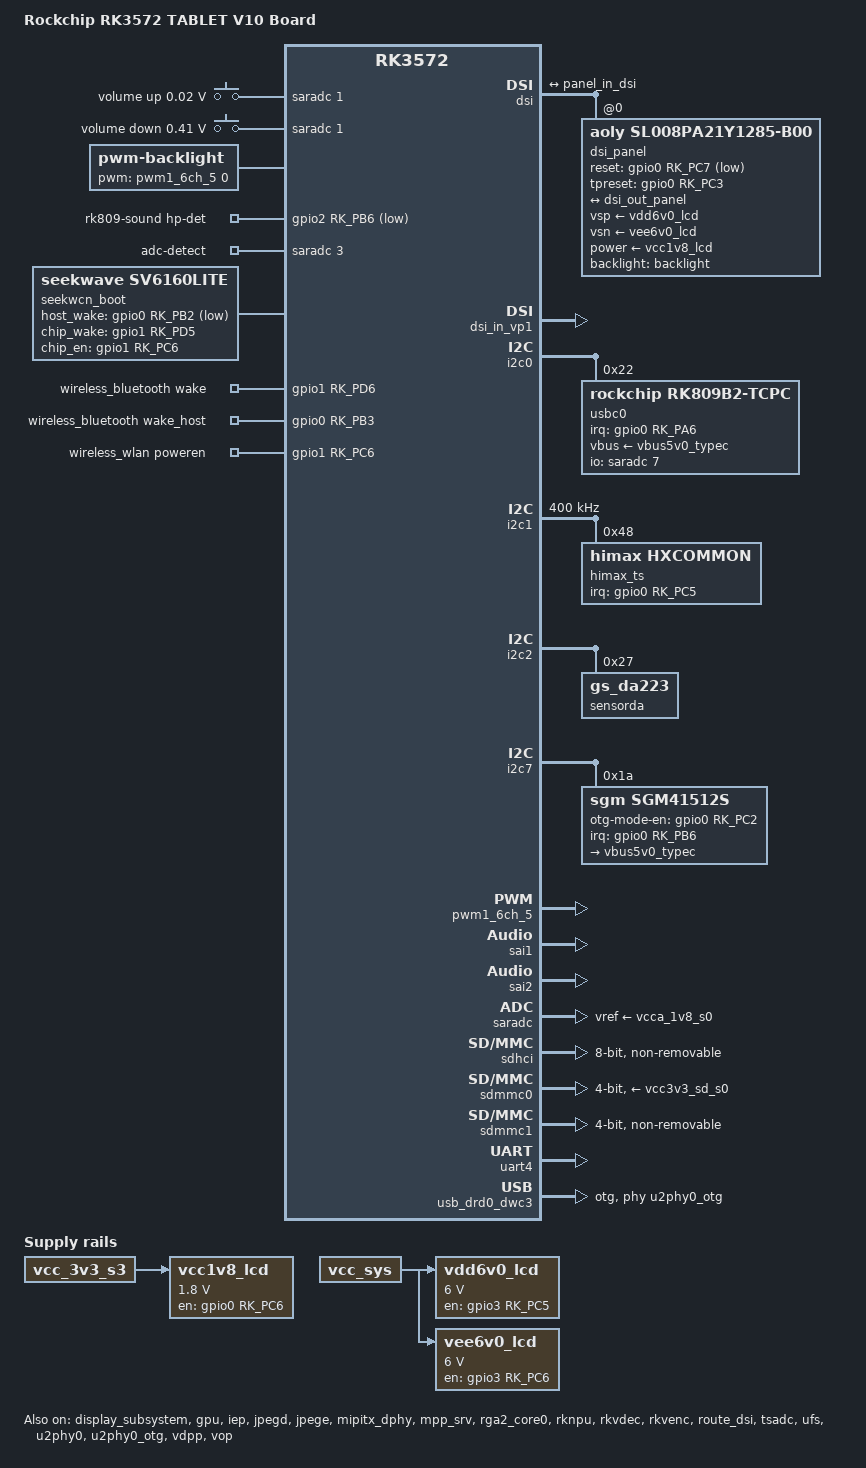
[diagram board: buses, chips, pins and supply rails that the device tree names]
// SPDX-License-Identifier: (GPL-2.0+ OR MIT)
/*
 * Copyright (c) 2025 Rockchip Electronics Co., Ltd.
 */

/dts-v1/;

#include <dt-bindings/display/drm_mipi_dsi.h>
#include <dt-bindings/display/rockchip_vop.h>
#include <dt-bindings/gpio/gpio.h>
#include <dt-bindings/input/rk-input.h>
#include <dt-bindings/pinctrl/rockchip.h>
#include <dt-bindings/pwm/pwm.h>
#include <dt-bindings/sensor-dev.h>
#include <dt-bindings/usb/pd.h>
#include "rk3572.dtsi"
#include "rk3572-android.dtsi"
#include "rk3572-rk809-rk805.dtsi"
#include "rk3572-tablet-camera.dtsi"

/ {
	model = "Rockchip RK3572 TABLET V10 Board";
	compatible = "rockchip,rk3572-tablet-v10", "rockchip,rk3572";

	adc_keys: adc-keys {
		compatible = "adc-keys";
		io-channels = <&saradc 1>;
		io-channel-names = "buttons";
		keyup-threshold-microvolt = <1800000>;
		poll-interval = <100>;

		vol-up-key {
			label = "volume up";
			linux,code = <KEY_VOLUMEUP>;
			press-threshold-microvolt = <20000>;
		};

		vol-down-key {
			label = "volume down";
			linux,code = <KEY_VOLUMEDOWN>;
			press-threshold-microvolt = <410000>;
		};
	};

	backlight: backlight {
		compatible = "pwm-backlight";
		pwms = <&pwm1_6ch_5 0 25000 0>;
		brightness-levels = <
			  0   1   1   2   2   3   3   4
			  5   5   6   6   7   7   8   9
			  9  10  10  11  11  12  13  13
			 14  14  15  15  16  16  17  18
			 18  19  19  20  20  21  22  22
			 23  23  24  24  25  26  26  27
			 27  28  28  29  30  30  31  31
			 32  32  33  34  34  35  35  36
			 36  37  38  38  39  39  40  40
			 41  42  42  43  43  44  44  45
			 45  46  47  47  48  48  49  49
			 50  51  51  52  52  53  53  54
			 55  55  56  56  57  57  58  59
			 59  60  60  61  61  62  63  63
			 64  64  65  65  66  67  67  68
			 68  69  69  70  71  71  72  72
			 73  73  74  74  75  76  76  77
			 77  78  78  79  80  80  81  81
			 82  82  83  84  84  85  85  86
			 86  87  88  88  89  89  90  90
			 91  92  92  93  93  94  94  95
			 96  96  97  97  98  98  99 100
			100 101 101 102 102 103 103 104
			105 105 106 106 107 107 108 109
			109 110 110 111 111 112 113 113
			114 114 115 115 116 117 117 118
			118 119 119 120 121 121 122 122
			123 123 124 125 125 126 126 127
			127 128 129 129 130 130 131 131
			132 132 133 134 134 135 135 136
			136 137 138 138 139 139 140 140
			141 142 142 143 143 144 144 145
		>;
		default-brightness-level = <100>;
	};

	bt-sound {
		compatible = "simple-audio-card";
		simple-audio-card,format = "dsp_b";
		simple-audio-card,bitclock-inversion = <1>;
		simple-audio-card,mclk-fs = <256>;
		simple-audio-card,name = "rockchip,bt";
		simple-audio-card,cpu {
			sound-dai = <&sai2>;
		};
		simple-audio-card,codec {
			sound-dai = <&bt_sco 1>;
		};
	};

	bt_sco: bt-sco {
		compatible = "delta,dfbmcs320";
		#sound-dai-cells = <1>;
		status = "okay";
	};

	rk809-sound {
		compatible = "rockchip,multicodecs-card";
		rockchip,card-name = "rockchip-rk809";
		hp-det-gpio = <&gpio2 RK_PB6 GPIO_ACTIVE_LOW>;
		io-channels = <&saradc 3>;
		io-channel-names = "adc-detect";
		keyup-threshold-microvolt = <1800000>;
		poll-interval = <100>;
		rockchip,format = "i2s";
		rockchip,mclk-fs = <256>;
		rockchip,cpu = <&sai1>;
		rockchip,codec = <&rk809_codec>;
		pinctrl-names = "default";
		pinctrl-0 = <&hp_det>;
		play-pause-key {
			label = "playpause";
			linux,code = <KEY_PLAYPAUSE>;
			press-threshold-microvolt = <2000>;
		};
	};

	seekwcn_boot:seekwcn_boot {
		compatible = "seekwave,sv6160lite";
		pinctrl-names = "default";
		pinctrl-0 = <&wifi_host_wake_irq>,<&wifi_chip_wake_irq>;
		sv6160_path = "/vendor/bin/sv6160.bin";
		sv6160_dram_path = "/vendor/etc/firmware/RAM_RW_KERNEL_DRAM";
		sv6160_iram_path = "/vendor/etc/firmware/ROM_EXEC_KERNEL_IRAM";
		dma_type = <1>;/*1:ADMA,2:SDMA*/
		gpio_host_wake = <&gpio0 RK_PB2 GPIO_ACTIVE_LOW>; /* [> CP2AP<] */
		gpio_chip_wake = <&gpio1 RK_PD5 GPIO_ACTIVE_HIGH>; /* AP2CP */
		gpio_chip_en = <&gpio1 RK_PC6 GPIO_ACTIVE_HIGH>; /* CP POWERON */
		status = "okay";
	};

	sdio_pwrseq: sdio-pwrseq {
		compatible = "mmc-pwrseq-simple";
		pinctrl-names = "default";
		pinctrl-0 = <&wifi_power_en>;
	};

	vcc1v8_lcd: vcc1v8-lcd {
		compatible = "regulator-fixed";
		regulator-name = "vcc1v8_lcd";
		regulator-boot-on;
		enable-active-high;
		regulator-min-microvolt = <1800000>;
		regulator-max-microvolt = <1800000>;
		gpio = <&gpio0 RK_PC6 GPIO_ACTIVE_HIGH>;
		vin-supply = <&vcc_3v3_s3>;
	};

	vdd6v0_lcd: vdd6v0-lcd {
		compatible = "regulator-fixed";
		regulator-name = "vdd6v0_lcd";
		regulator-min-microvolt = <6000000>;
		regulator-max-microvolt = <6000000>;
		regulator-boot-on;
		enable-active-high;
		gpio = <&gpio3 RK_PC5 GPIO_ACTIVE_HIGH>;
		vin-supply = <&vcc_sys>;
	};

	vee6v0_lcd: vee6v0-lcd {
		compatible = "regulator-fixed";
		regulator-name = "vee6v0_lcd";
		regulator-min-microvolt = <6000000>;
		regulator-max-microvolt = <6000000>;
		regulator-boot-on;
		enable-active-high;
		gpio = <&gpio3 RK_PC6 GPIO_ACTIVE_HIGH>;
		vin-supply = <&vcc_sys>;
	};

	wireless_bluetooth: wireless-bluetooth {
		compatible = "bluetooth-platdata";
		pinctrl-names = "default";
		BT,wake-gpios     = <&gpio1 RK_PD6 GPIO_ACTIVE_HIGH>;
		BT,wake_host-gpios = <&gpio0 RK_PB3 GPIO_ACTIVE_HIGH>;
		status = "okay";
	};

	wireless_wlan: wireless-wlan {
		compatible = "wlan-platdata";
		wifi_chip_type = "SWT6621S";
		pinctrl-names = "default";
		WIFI,poweren-gpios = <&gpio1 RK_PC6 GPIO_ACTIVE_HIGH>;
		status = "okay";
	};
};

&cpu_l0 {
	cpu-supply = <&vdd_cpu_lit_s0>;
};

&cpu_l4 {
	cpu-supply = <&vdd_cpu_lit_s0>;
};

&cpu_b0 {
	cpu-supply = <&vdd_cpu_big_s0>;
};

&display_subsystem {
	status = "okay";
};

&dsi {
	status = "okay";
	rockchip,lane-rate = <1150>;

	dsi_panel: panel@0 {
		compatible = "aoly,sl008pa21y1285-b00", "simple-panel-dsi";
		reg = <0>;
		backlight = <&backlight>;

		vsp-supply = <&vdd6v0_lcd>;
		vsn-supply = <&vee6v0_lcd>;
		//enable-gpios = <&gpio0 RK_PC6 GPIO_ACTIVE_HIGH>;
		power-supply = <&vcc1v8_lcd>;
		reset-gpios = <&gpio0 RK_PC7 GPIO_ACTIVE_LOW>;
		tpreset-gpios = <&gpio0 RK_PC3 GPIO_ACTIVE_HIGH>;

		pinctrl-names = "default";
		pinctrl-0 = <&lcd_enable_gpio>, <&lcd_rst_gpio>;

		prepare-delay-ms = <40>;
		reset-delay-ms = <10>;
		init-delay-ms = <80>;
		enable-delay-ms = <60>;
		disable-delay-ms = <20>;
		unprepare-delay-ms = <20>;
		need-up-reset = <1>;

		width-mm = <147>;
		height-mm = <236>;

		dsi,flags = <(MIPI_DSI_MODE_VIDEO | MIPI_DSI_MODE_VIDEO_BURST |
			      MIPI_DSI_MODE_LPM | MIPI_DSI_MODE_NO_EOT_PACKET)>;
		dsi,format = <MIPI_DSI_FMT_RGB888>;
		dsi,lanes  = <4>;

		panel-init-sequence = [
			39 00 04 B9 83 10 2E
			15 00 02 E9 CD
			15 00 02 BB 01
			15 00 02 E9 00
			39 00 05 D1 67 0C FF 05
			39 00 12 B1 10 FA AF AF 29 29 B1 6B 31 36 36 36 36 22 21 15 00
			39 00 11 B2 00 B0 47 80 00 26 E0 29 13 00 00 00 15 20 D7 00
			39 00 11 B4 6A 70 6A 70 6A 90 6A 90 01 9F 01 58 00 FF 00 FF
			39 00 03 D2 29 29
			39 00 04 B6 3a 3a E3
			39 00 08 BF FC 85 80 9C 36 00 04
			39 00 2C D3 00 00 00 00 3C E8 00 00 00 37 37 33 0F 26 26 04 00 32 10 24 00 24 32 17 A8 07 A8 32 10 08 00 00 00 00 2B 50 B6 C8 2C 4F B6 C8 0F
			15 00 02 BD 01
			39 00 0B CB 80 36 12 16 C0 28 54 84 02 34
			39 00 0C D3 01 00 FC 00 00 11 10 00 0A 00 01
			15 00 02 BD 02
			39 00 07 B4 4E 00 33 11 33 88
			39 00 04 BF F2 00 02
			15 00 02 BD 00
			39 00 0F C0 33 33 22 11 A2 17 00 80 00 00 08 00 63 63
			39 00 2D D5 18 18 18 18 18 18 18 18 18 18 19 19 18 18 1A 1A 1B 1B 00 01 02 03 04 05 06 07 20 21 24 25 18 18 18 18 18 18 18 18 18 18 18 18 18 18
			39 00 2D D6 18 18 18 18 18 18 18 18 18 18 18 18 19 19 1A 1A 1B 1B 07 06 05 04 03 02 01 00 25 24 21 20 18 18 18 18 18 18 18 18 18 18 18 18 18 18
			39 00 2F E0 00 08 15 1E 27 49 63 6F 73 6F 88 8C 90 9D 99 A0 A7 B8 B5 58 60 69 73 00 08 15 1E 27 49 63 6F 73 6F 88 8C 90 9D 99 A0 A7 B8 B5 58 60 69 73
			39 00 04 D0 07 04 05
			39 00 18 E7 12 13 02 02 55 00 0E 0E 00 26 29 72 1C 72 01 27 00 00 00 00 17 00 68
			15 00 02 BD 01
			39 00 08 E7 01 30 01 94 0D B5 0E
			15 00 02 BD 02
			39 00 1D E7 FF 01 FD 01 00 00 22 00 00 00 00 00 00 00 00 00 00 00 00 00 00 00 00 00 81 00 02 40
			15 00 02 BD 00
			39 00 0D D8 AA AB EA AA AA A0 AA AB EA AA AA A0
			15 00 02 BD 01
			39 00 0D D8 00 00 00 00 00 00 00 00 00 00 00 00
			15 00 02 BD 02
			39 00 0D D8 FF FF BF FF FF F0 FF FF BF FF FF F0
			15 00 02 BD 03
			39 00 19 D8 55 55 55 55 55 50 55 55 55 55 55 50 55 55 55 55 55 50 55 55 55 55 55 50
			15 00 02 BD 00
			15 00 02 CC 0E
			39 00 09 BA 70 03 A8 83 F2 80 C0 0D
			15 00 02 BD 00
			39 00 09 C8 00 04 04 00 00 02 13 FF
			15 00 02 BD 00
			39 00 06 CB 00 13 08 02 25
			15 00 02 BD 02
			39 00 06 CB 00 03 00 01 7E
			15 00 02 BD 00
			39 00 08 C7 30 B0 C2 08 10 42 04
			39 00 04 D1 67 0C 0F
			39 00 03 E1 00 01
			39 00 04 B9 00 00 00

			05 78 01 11
			05 14 01 29
		];

		panel-exit-sequence = [
			05 14 01 28
			05 78 01 10
		];

		disp_timings0: display-timings {
			native-mode = <&dsi_timing0>;
			dsi_timing0: timing0 {
				clock-frequency = <168000000>;
				hactive = <1200>;
				vactive = <1920>;
				hback-porch = <40>;
				hfront-porch = <40>;
				vback-porch = <40>;
				vfront-porch = <224>;
				hsync-len = <4>;
				vsync-len = <4>;
				hsync-active = <0>;
				vsync-active = <0>;
				de-active = <0>;
				pixelclk-active = <0>;
			};
		};

		ports {
			#address-cells = <1>;
			#size-cells = <0>;

			port@0 {
				reg = <0>;
				panel_in_dsi: endpoint {
					remote-endpoint = <&dsi_out_panel>;
				};
			};
		};
	};

	ports {
		#address-cells = <1>;
		#size-cells = <0>;

		port@1 {
			reg = <1>;
			dsi_out_panel: endpoint {
				remote-endpoint = <&panel_in_dsi>;
			};
		};
	};

};

&dsi_in_vp1 {
	status = "okay";
};

&gpu {
	mali-supply = <&vdd_gpu_s0>;
	status = "okay";
};

&i2c0 {
	status = "okay";

	usbc0: rk809b2-tcpc@22 {
		compatible = "rockchip,rk809b2-tcpc", "rockchip,rk817b2-tcpc";
		reg = <0x22>;
		interrupt-parent = <&gpio0>;
		interrupts = <RK_PA6 IRQ_TYPE_LEVEL_LOW>;
		pinctrl-names = "default";
		pinctrl-0 = <&pmic_pins>;
		vbus-supply = <&vbus5v0_typec>;
		io-channels = <&saradc 7>;
		io-channel-names = "vsafe0v-detect";
		status = "okay";

		usb_con: connector {
			compatible = "usb-c-connector";
			label = "USB-C";
			data-role = "dual";
			power-role = "dual";
			try-power-role = "sink";
			op-sink-microwatt = <1000000>;
			orientation-switch = <&u2phy0>;
			usb-role-switch = <&usb_drd0_dwc3>;

			sink-pdos =
				<PDO_FIXED(5000, 3000, PDO_FIXED_DATA_SWAP | PDO_FIXED_USB_COMM | PDO_FIXED_EXTPOWER | PDO_FIXED_DUAL_ROLE)
				 PDO_FIXED(9000, 3000, PDO_FIXED_USB_COMM)
				 /*PDO_FIXED(12000, 3000, PDO_FIXED_USB_COMM)*/>;
			source-pdos =
				<PDO_FIXED(5000, 3000, PDO_FIXED_DATA_SWAP | PDO_FIXED_USB_COMM | PDO_FIXED_EXTPOWER | PDO_FIXED_DUAL_ROLE)>;
		};
	};
};

&i2c1 {
	status = "okay";
	pinctrl-0 = <&i2c1m1_xfer_pins>;
	clock-frequency = <400000>;

	himax_ts@48 {
		status = "okay";
		compatible = "himax,hxcommon";
		reg = <0x48>;
		pinctrl-names = "default", "sleep";
		pinctrl-0 = <&touch_gpio>;
		pinctrl-1 = <&touch_gpio>;
		himax,panel-coords      = <0 1200 0 1920>;
		himax,display-coords    = <0 1200 0 1920>;
		himax,irq-gpio          = <&gpio0 RK_PC5 GPIO_ACTIVE_HIGH>;
		//himax,rst-gpio          = <&gpio0 RK_PC3 GPIO_ACTIVE_HIGH>;
		himax,tp-fw-bin         = "Himax_firmware.bin";
		rockchip,panel-notifier = <&dsi_panel>;
		report_type             = <1>;
		report_orientation      = <180>;
	};
};

&i2c2 {
	status = "okay";

	sensorda@27{
		compatible = "gs_da223";
		reg = <0x27>;
		type = <SENSOR_TYPE_ACCEL>;
		//irq-gpio = <&gpio0 RK_PD3 IRQ_TYPE_LEVEL_LOW>;
		irq_enable = <0>;
		poll_delay_ms = <10>;
		layout = <3>;
		//layout = <5>;
		swap_xy = <0>;
		revert_x = <0>;
		revert_y = <1>;
		revert_z = <0>;
		status = "okay";
	};
};

&i2c7 {
	status = "okay";
	pinctrl-0 = <&i2c7m3_xfer_pins>;

	sgm41512s: sgm41512s@1a {
		compatible = "sgm,sgm41512s";
		reg = <0x1a>;
		pinctrl-names = "default";
		pinctrl-0 = <&charger_ok>;
		interrupt-parent = <&gpio0>;
		interrupts = <RK_PB6 IRQ_TYPE_EDGE_FALLING>;
		otg-mode-en-gpios = <&gpio0 RK_PC2 GPIO_ACTIVE_HIGH>;
		input-voltage-limit-microvolt = <4500000>;
		input-current-limit-microamp = <3000000>;
		monitored-battery = <&bat>;
		regulators {
			vbus5v0_typec: vbus5v0-typec {
				regulator-compatible = "otg-vbus";
				regulator-name = "vbus5v0_typec";
			};
		};
	};

};

&iep {
	status = "okay";
};

&iep_mmu {
	status = "okay";
};

&jpegd {
	status = "okay";
};

&jpege {
	status = "okay";
};

&jpeg_mmu {
	status = "okay";
};

&mipitx_dphy {
	status = "okay";
};

&mpp_srv {
	status = "okay";
};

&pinctrl {
	wifi{
		wifi_power_en: wifi-power-en {
			rockchip,pins = <1 RK_PC6 RK_FUNC_GPIO &pcfg_pull_up>;
		};

		wifi_host_wake_irq: wifi-host-wake-irq{
			rockchip,pins = <0 RK_PB2 RK_FUNC_GPIO &pcfg_pull_none>;
		};

		wifi_chip_wake_irq: wifi-chip-wake-irq {
			rockchip,pins = <1 RK_PD5 RK_FUNC_GPIO &pcfg_pull_none>;
		};
	};

	charger {
		charger_ok: charger_ok {
			rockchip,pins =
				<0 RK_PB6 RK_FUNC_GPIO &pcfg_pull_up>,
				<0 RK_PC2 RK_FUNC_GPIO &pcfg_pull_up>;
		};
	};

	headphone {
		hp_det: hp-det {
			rockchip,pins = <2 RK_PB6 RK_FUNC_GPIO &pcfg_pull_up>;
		};
	};

	lcd {
		lcd_rst_gpio: lcd-rst-gpio {
			rockchip,pins = <0 RK_PC7 RK_FUNC_GPIO &pcfg_pull_none>;
		};


		lcd_enable_gpio: lcd-enable-gpio {
			rockchip,pins = <0 RK_PC6 RK_FUNC_GPIO &pcfg_pull_none>;
		};
	};

	touch {
		touch_gpio: touch-gpio {
			rockchip,pins =
				<0 RK_PC5 RK_FUNC_GPIO &pcfg_pull_down>,
				<0 RK_PC3 RK_FUNC_GPIO &pcfg_pull_none>;
		};
	};

	pmic {
		soc_slppin_slp: soc_slppin_slp {
			rockchip,pins =
				/* pwr_ctrl1 */
				<0 RK_PA3 9 &pcfg_pull_none>;
		};
	};

	sensor {
		sensor_gpio: sensor-gpio {
			rockchip,pins = <0 RK_PD3 RK_FUNC_GPIO &pcfg_pull_none>;
		};
	};
};

&pwm1_6ch_5 {
	status = "okay";
	pinctrl-0 = <&pwm1m0_ch5_pins>;
};

&rga2_core0 {
	status = "okay";
};

&rga2_core0_mmu {
	status = "okay";
};

&rknpu {
	rknpu-supply = <&vdd_npu_s0>;
	status = "okay";
};

&rknpu_mmu {
	status = "okay";
};

&rkvdec {
	status = "okay";
};

&rkvdec_mmu {
	status = "okay";
};

&rkvenc {
	status = "okay";
};

&rkvenc_mmu {
	status = "okay";
};

&rockchip_suspend {
	status = "okay";
	rockchip,sleep-debug-en = <1>;
	rockchip,sleep-io-ret-config = <
		(0
		| RKPM_VCCIO3_RET_EN
		)
	>;
	rockchip,sleep-mode-config = <
		(0
		| RKPM_SLP_ARMOFF_LOGOFF
		| RKPM_SLP_PMU_PMUALIVE_32K
		| RKPM_SLP_PMU_DIS_OSC
		| RKPM_SLP_32K_EXT
		| RKPM_SLP_PMIC_RK806
		)
	>;
};

&route_dsi {
	status = "okay";
	connect = <&vp1_out_dsi>;
};

&sai1 {
	pinctrl-names = "default";
	rockchip,always-on;
	pinctrl-0 = <&sai1m0_lrck_pins
		&sai1m0_sclk_pins
		&sai1m0_sdi0_pins
		&sai1m0_sdo0_pins>;
	status = "okay";
};

&sai2 {
	status = "okay";
};

&saradc {
	status = "okay";
	vref-supply = <&vcca_1v8_s0>;
};

&sdhci {
	bus-width = <8>;
	no-sdio;
	no-sd;
	non-removable;
	max-frequency = <200000000>;
	mmc-hs400-1_8v;
	mmc-hs400-enhanced-strobe;
	full-pwr-cycle-in-suspend;
	status = "okay";
};

&sdmmc0 {
	max-frequency = <200000000>;
	no-sdio;
	no-mmc;
	bus-width = <4>;
	cap-mmc-highspeed;
	cap-sd-highspeed;
	disable-wp;
	sd-uhs-sdr104;
	vmmc-supply = <&vcc3v3_sd_s0>;
	vqmmc-supply = <&vccio_sd_s0>;
	status = "okay";
};

&sdmmc1 {
	max-frequency = <200000000>;
	no-sd;
	no-mmc;
	bus-width = <4>;
	cap-sd-highspeed;
	cap-sdio-irq;
	keep-power-in-suspend;
	mmc-pwrseq = <&sdio_pwrseq>;
	non-removable;
	pinctrl-names = "default";
	pinctrl-0 = <&sdmmc1_bus4_pins &sdmmc1_clk_pins &sdmmc1_cmd_pins>;
	sd-uhs-sdr104;
	status = "okay";
};

&tsadc {
	status = "okay";
};

&uart4 {
	status = "okay";
};

&ufs {
	reset-gpios = <&gpio4 RK_PC0 GPIO_ACTIVE_HIGH>;
	status = "okay";
};

&u2phy0 {
	orientation-switch;
	status = "okay";
};

&u2phy0_otg {
	rockchip,typec-vbus-det;
	status = "okay";
};

&usb_drd0_dwc3 {
	dr_mode = "otg";
	maximum-speed = "high-speed";
	phys = <&u2phy0_otg>;
	phy-names = "usb2-phy";
	snps,dis_u2_susphy_quirk;
	snps,usb2-lpm-disable;
	usb-role-switch;
	status = "okay";
};

&vdpp {
	status = "okay";
};

&vop {
	status = "okay";
};

&vop_mmu {
	status = "okay";
};
